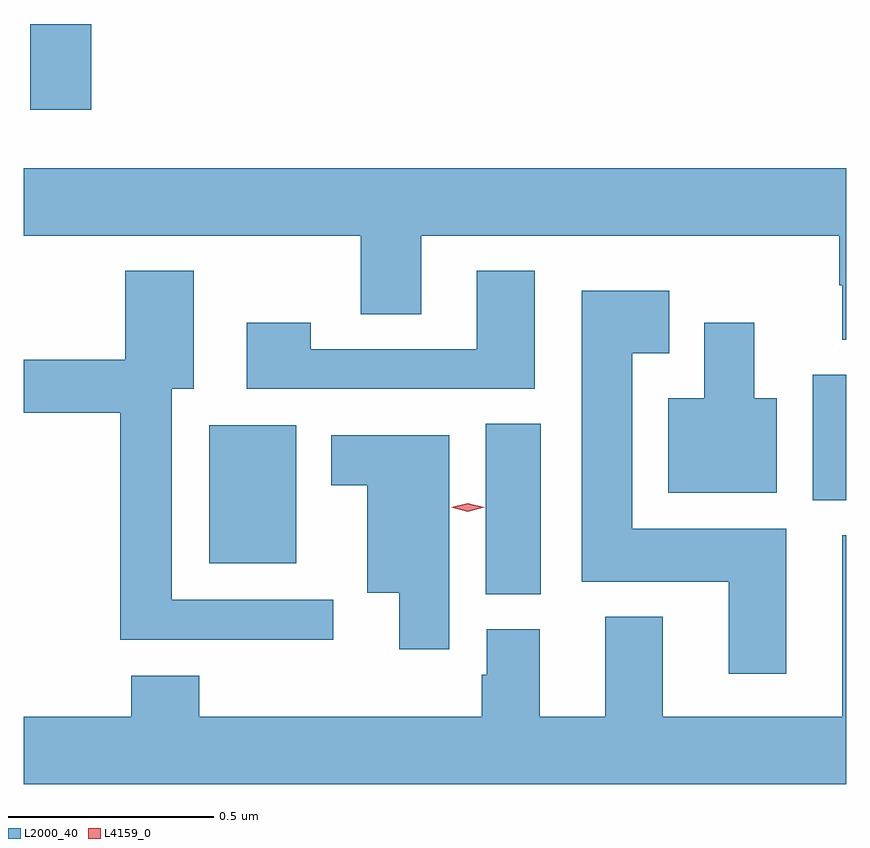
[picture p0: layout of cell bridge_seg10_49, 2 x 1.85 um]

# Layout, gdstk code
import gdstk
lib = gdstk.Library(unit=1e-6, precision=1e-09)
def R(c, l, rs):  # rectangles x0, y0, x1, y1
    for r in rs: c.add(gdstk.rectangle(r[:2], r[2:], *l))
def P(c, l, *ps):  # polygons
    for p in ps: c.add(gdstk.Polygon(p, *l))
L2000_40 = (2000, 40)
L4159_0 = (4159, 0)

bridge_seg10_49 = lib.new_cell('bridge_seg10_49')
R(bridge_seg10_49, L2000_40, [(871.088,1324.753,871.222,1325.168), (870.416,1324.829,870.628,1325.164), (871.883,1324.982,871.965,1325.287), (869.981,1325.931,870.13,1326.139)])
P(bridge_seg10_49, L2000_40, [(871.965,1325.788),(869.965,1325.788),(869.965,1325.624),(870.784,1325.624),(870.784,1325.434),(870.931,1325.434),(870.931,1325.624),(871.948,1325.624),(871.948,1325.504),(871.955,1325.504),(871.955,1325.372),(871.965,1325.372)],
  [(871.207,1325.539),(871.067,1325.539),(871.067,1325.349),(870.663,1325.349),(870.663,1325.413),(870.507,1325.413),(870.507,1325.253),(871.207,1325.253)],
  [(870.718,1324.74),(870.325,1324.74),(870.325,1325.252),(870.379,1325.252),(870.379,1325.539),(870.212,1325.539),(870.212,1325.323),(869.965,1325.323),(869.965,1325.194),(870.2,1325.194),(870.2,1324.643),(870.718,1324.643)],
  [(871.819,1324.912),(871.444,1324.912),(871.444,1325.339),(871.534,1325.339),(871.534,1325.491),(871.322,1325.491),(871.322,1324.784),(871.679,1324.784),(871.679,1324.56),(871.819,1324.56)],
  [(871.795,1325.23),(871.741,1325.23),(871.741,1325.413),(871.619,1325.413),(871.619,1325.23),(871.532,1325.23),(871.532,1325),(871.795,1325)],
  [(871,1325.14),(870.713,1325.14),(870.713,1325.018),(870.8,1325.018),(870.8,1324.757),(870.878,1324.757),(870.878,1324.62),(871,1324.62)],
  [(871.965,1324.897),(871.955,1324.897),(871.955,1324.456),(871.519,1324.456),(871.519,1324.699),(871.379,1324.699),(871.379,1324.456),(871.219,1324.456),(871.219,1324.668),(871.091,1324.668),(871.091,1324.557),(871.079,1324.557),(871.079,1324.456),(870.392,1324.456),(870.392,1324.555),(870.227,1324.555),(870.227,1324.456),(869.965,1324.456),(869.965,1324.292),(871.965,1324.292)])
P(bridge_seg10_49, L4159_0, [(871.045,1324.954),(871.004,1324.964),(871.004,1324.964),(871.004,1324.964),(871.045,1324.974),(871.085,1324.964),(871.086,1324.964),(871.085,1324.964)])

lib.write_gds('bridge_seg10_49.gds')
